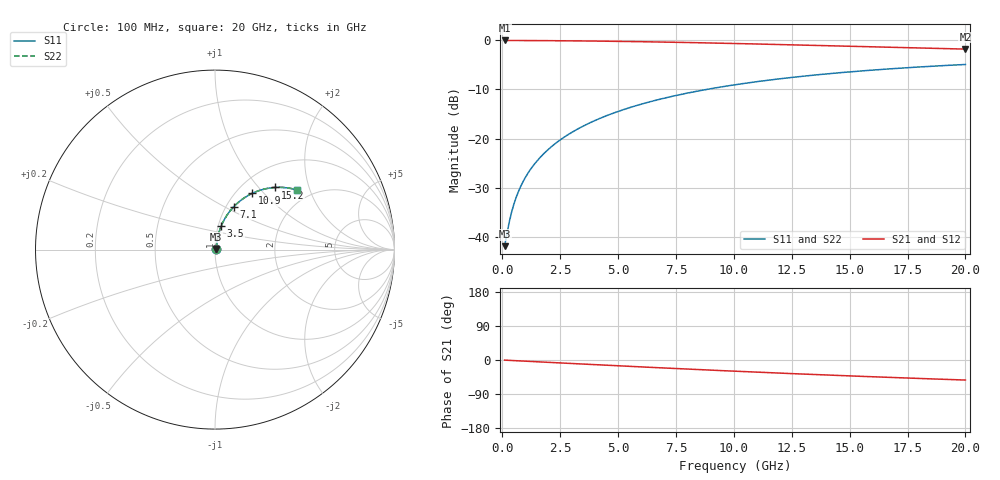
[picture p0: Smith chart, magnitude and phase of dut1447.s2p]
! Touchstone file exported from HFSS 2026.1.0
!  File:  C:/ffzhzh/LocalFiles/Ansys_Project_Files/temp_train_TMRDL_1447_1783167126_51560.aedt
!  Generated:  08:13:18 PM Jul  4, 2026
!  Design:  TMRDL
!  Project:  temp_train_TMRDL_1447_1783167126_51560
! Variables:
!  h_bsmrdl = 2um
!  h_ox = 20um
!  h_rdl = 5um
!  h_sub = 80um
!  h_tmrdl = 2.22um
!  h_tsv = 80um
!  h_via = 3um
!  l_bsmrdl = 300um
!  l_sub = 1114.48um
!  l_tmrdl = 714.48um
!  m_sub = 200um
!  pitch = 58.05um
!  r_tsv = 6um
!  s_tmrdl = 10um
!  w_bsmrdl = 18um
!  w_sub = 500um
!  w_tmrdl = 16.67um
!  x_tsv_center1 = 722.815um
!  x_tsv_center2 = 1040.815um
!  x_tsv_center3 = 1771.965um
!  x_tsv_center4 = 2089.965um
!  x_tsv_center5 = 2821.115um
!  x_tsv_center6 = 3139.115um
# GHz S MA R 50.000000
! Terminal data exported
! Port[1] = TM_RDL1_1_T1
! Port[2] = TM_RDL1_1_T2
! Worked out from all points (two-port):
!   200 points, 100 MHz to 20 GHz, reference 50 ohm
!   highest |S21| = -0.06 dB at 100 MHz (marker M1); lowest = -1.8 dB at 20 GHz (marker M2)
!   |S21| within 3 dB of the highest: start of sweep to end of sweep
!   lowest |S11| = -41.8 dB at 100 MHz (marker M3), VSWR 1.02, Z = 50.7 + j0.413 ohm
!   |S11| at or under -10 dB: start of sweep to 8.833 GHz
!   |S22| runs from -41.8 to -4.9 dB; largest |S21 - S12| = 2.7e-15
!   S11 on the Smith chart (normalised r, x): 100 MHz: 1.01, +0.01; 3.5 GHz: 1.03, +0.27; 7.1 GHz: 1.09, +0.56; 10.9 GHz: 1.18, +0.86; 15.2 GHz: 1.36, +1.23; 20 GHz: 1.69, +1.65
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0.1  0.00809 30.3  0.993 -0.3  0.993 -0.3  0.00809 30.3
! Gamma 0 0 0 0
! Port Impedance 50 0 50 0
0.3  0.01421 58.7  0.9928 -1.0  0.9928 -1.0  0.01421 58.7
0.4  0.01786 64.5  0.9925 -1.3  0.9925 -1.3  0.01786 64.5
0.5  0.0216 68.1  0.9923 -1.6  0.9923 -1.6  0.0216 68.1
0.6  0.02537 70.6  0.9921 -1.9  0.9921 -1.9  0.02537 70.6
0.8  0.03293 73.5  0.9916 -2.5  0.9916 -2.5  0.03293 73.5
1.1  0.04427 75.8  0.9908 -3.5  0.9908 -3.5  0.04427 75.8
1.5  0.05936 77.0  0.9897 -4.7  0.9897 -4.7  0.05936 77.0
2.1  0.08198 77.3  0.9878 -6.5  0.9878 -6.5  0.08198 77.3
2.7  0.1045 76.7  0.9856 -8.4  0.9856 -8.4  0.1045 76.7
3.5  0.1343 75.3  0.9818 -10.8  0.9818 -10.8  0.1343 75.3
4.2  0.16 73.7  0.9778 -12.9  0.9778 -12.9  0.16 73.7
5  0.1888 71.8  0.9724 -15.3  0.9724 -15.3  0.1888 71.8
6.8  0.251 67.1  0.9579 -20.5  0.9579 -20.5  0.251 67.2
7.1  0.261 66.3  0.9552 -21.4  0.9552 -21.4  0.261 66.4
8.5  0.306 62.6  0.9415 -25.3  0.9415 -25.3  0.3059 62.7
10.1  0.3538 58.5  0.9243 -29.7  0.9243 -29.7  0.3538 58.5
10.9  0.3763 56.4  0.9152 -31.8  0.9152 -31.8  0.3763 56.5
13.4  0.4402 50.3  0.886 -38.1  0.886 -38.1  0.4402 50.3
15.2  0.4804 46.1  0.8647 -42.4  0.8647 -42.4  0.4804 46.1
16.7  0.5105 42.7  0.8473 -45.9  0.8473 -45.9  0.5105 42.8
20  0.5663 35.8  0.8113 -52.9  0.8113 -52.9  0.5663 35.9
